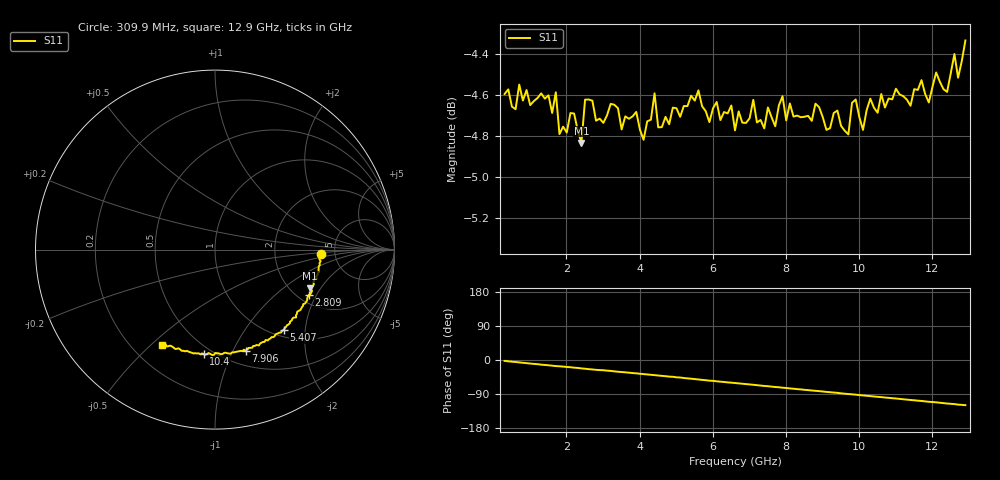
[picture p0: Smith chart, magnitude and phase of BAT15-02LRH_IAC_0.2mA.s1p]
! Infineon Technologies  Discrete & RF Semiconductors
! BAT15-02LRH
! IAC = 0.2 mA
! One-Port S-Parameters
# Hz  S  MA  R  50
!f  S11
!Hz  Mag  Ang
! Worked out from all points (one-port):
!   127 points, 309.9 MHz to 12.9 GHz, reference 50 ohm
!   lowest |S11| = -4.8 dB at 2.409 GHz (marker M1), VSWR 3.69, Z = 126 - j81 ohm
!   |S11| at or under -10 dB: nowhere
!   S11 on the Smith chart (normalised r, x): 309.9 MHz: 3.84, -0.29; 2.809 GHz: 2.26, -1.73; 5.407 GHz: 1.13, -1.54; 7.906 GHz: 0.65, -1.12; 10.4 GHz: 0.45, -0.79; 12.9 GHz: 0.32, -0.54
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3.0985e8  0.5891 -2.4
1.70915e9  0.5897 -16.0
1.90905e9  0.5785 -17.4
2.4088e9  0.5732 -22.2
2.50875e9  0.5873 -23.0
2.8086e9  0.5804 -25.9
3.2084e9  0.5859 -28.8
3.50825e9  0.5776 -31.8
3.90805e9  0.5833 -35.2
4.10795e9  0.5742 -37.2
4.4078e9  0.5894 -39.9
4.50775e9  0.5782 -41.0
5.10745e9  0.5817 -46.2
5.4073e9  0.5886 -49.3
6.6067e9  0.5773 -60.8
7.90605e9  0.5884 -73.1
8.2059e9  0.5817 -75.9
8.8056e9  0.586 -81.3
9.70515e9  0.576 -89.8
9.8051e9  0.5863 -90.5
1.04048e10  0.5846 -96.3
1.10045e10  0.5909 -101.6
1.14043e10  0.5853 -105.6
1.210395e10  0.5963 -111.7
1.24038e10  0.5898 -114.9
1.26037e10  0.6025 -116.4
1.270365e10  0.5945 -117.7
1.290355e10  0.6071 -119.2
